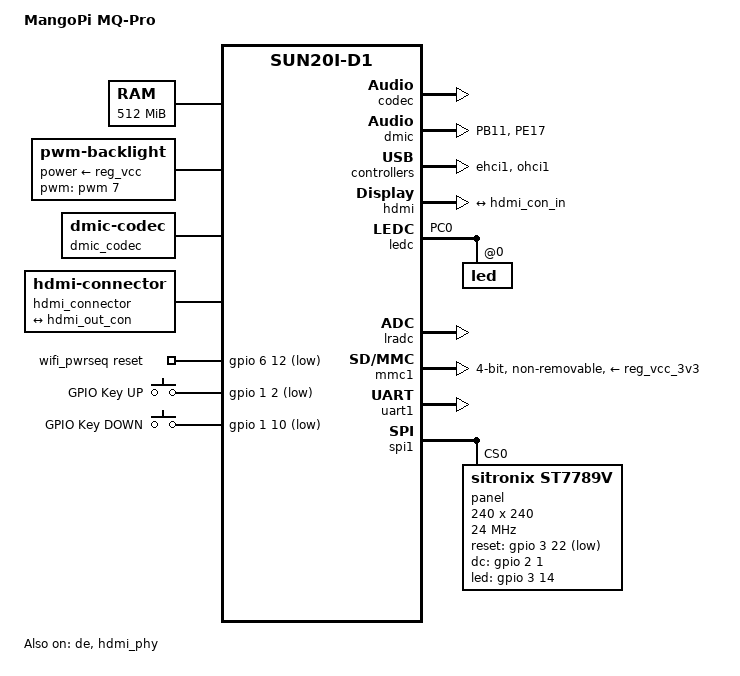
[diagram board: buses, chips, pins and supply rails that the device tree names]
// SPDX-License-Identifier: (GPL-2.0+ or MIT)
// Copyright (C) 2022 Jisheng Zhang <jszhang@kernel.org>
// Copyright (C) 2022 Samuel Holland <samuel@sholland.org>

#include <dt-bindings/input/input.h>

#include "sun20i-d1-lichee-rv.dts"

/ {
	model = "MangoPi MQ-Pro";
	compatible = "mangopi,mq-pro",
		     "allwinner,sun20i-d1";

	aliases {
		mmc1 = &mmc1;
		ethernet0 = &emac;
	};

  memory@40000000 {
    device_type = "memory";
    reg = <0x40000000 0x20000000>;
  };

	backlight: backlight {
		compatible = "pwm-backlight";
		power-supply = <&reg_vcc>;
		pwms = <&pwm 7 50000 0>;
	};

	dmic-card {
		compatible = "simple-audio-card";
		#address-cells = <1>;
		#size-cells = <0>;

		simple-audio-card,dai-link@0 {
			format = "pdm";
			frame-master = <&link0_cpu>;
			bitclock-master = <&link0_cpu>;

			link0_cpu: cpu {
				sound-dai = <&dmic>;
			};

			link0_codec: codec {
				sound-dai = <&dmic_codec>;
			};
		};
	};

	dmic_codec: dmic-codec {
		compatible = "dmic-codec";
		num-channels = <2>;
		#sound-dai-cells = <0>;
	};

  /*
	spi-gpio {
		compatible = "spi-gpio";
		cs-gpios = <&gpio 3 10 GPIO_ACTIVE_LOW>; // PD10
		mosi-gpios = <&gpio 3 12 GPIO_ACTIVE_HIGH>; // PD12
		sck-gpios = <&gpio 3 11 GPIO_ACTIVE_HIGH>; // PD11
		num-chipselects = <1>;
		#address-cells = <1>;
		#size-cells = <0>;

		panel@0 {
			compatible = "sitronix,st7789v";
			reg = <0>;
			backlight = <&backlight>;
			reset-gpios = <&gpio 3 14 GPIO_ACTIVE_LOW>; // PD14
			spi-3wire;
      width = <240>;
      height = <240>;
      txbuflen = <32768>;
      // from d1-lichee-rv-86-panel.dts
      // port {
      //   panel_in_tcon_lcd0: endpoint {
      //     remote-endpoint = <&tcon_lcd0_out_panel>;
      //   };
      // };
		};
	};
  */

	hdmi_connector: connector {
		compatible = "hdmi-connector";
		type = "a";

		port {
			hdmi_con_in: endpoint {
				remote-endpoint = <&hdmi_out_con>;
			};
		};
	};

	wifi_pwrseq: wifi-pwrseq {
		compatible = "mmc-pwrseq-simple";
		reset-gpios = <&gpio 6 12 GPIO_ACTIVE_LOW>; /* PG12 */
	};

	gpio-keys {
			compatible = "gpio-keys";
			autorepeat;

			up {
				label = "GPIO Key UP";
				linux,code = <103>;
				gpios = <&gpio 1 2 GPIO_ACTIVE_LOW>;
			};

			down {
				label = "GPIO Key DOWN";
				linux,code = <108>;
				gpios = <&gpio 1 10 GPIO_ACTIVE_LOW>;
			};
  };
};

&codec {
	allwinner,routing = "Internal Speaker", "HPOUTL",
			    "Internal Speaker", "HPOUTR",
			    "LINEINL", "HPOUTL",
			    "LINEINR", "HPOUTR",
			    "MICIN3", "Internal Microphone",
			    "Internal Microphone", "HBIAS";
	allwinner,widgets = "Microphone", "Internal Microphone",
			    "Speaker", "Internal Speaker";
	status = "okay";
};

&de {
	status = "okay";
};

&dmic {
	pinctrl-0 = <&dmic_pb11_d0_pin>, <&dmic_pe17_clk_pin>;
	pinctrl-names = "default";
	status = "okay";
};

&ehci1 {
	status = "okay";
};

&gpio {
	dmic_pb11_d0_pin: dmic-pb11-d0-pin {
		pins = "PB11";
		function = "dmic";
	};

	dmic_pe17_clk_pin: dmic-pe17-clk-pin {
		pins = "PE17";
		function = "dmic";
	};

	ledc_pc0_pin: ledc-pc0-pin {
		pins = "PC0";
		function = "ledc";
	};
};

&hdmi {
	status = "okay";

	port {
		hdmi_out_con: endpoint {
			remote-endpoint = <&hdmi_con_in>;
		};
	};
};

&hdmi_phy {
	status = "okay";
};

&ledc {
	pinctrl-0 = <&ledc_pc0_pin>;
	pinctrl-names = "default";
	status = "okay";

	led@0 {
		reg = <0x0>;
		color = <LED_COLOR_ID_RGB>;
		function = LED_FUNCTION_STATUS;
	};
};

&lradc {
	wakeup-source;
	status = "okay";

	button-220 {
		label = "OK";
		linux,code = <KEY_OK>;
		channel = <0>;
		voltage = <220000>;
	};
};

&mmc1 {
	bus-width = <4>;
	mmc-pwrseq = <&wifi_pwrseq>;
	non-removable;
	vmmc-supply = <&reg_vcc_3v3>;
	vqmmc-supply = <&reg_vcc_3v3>;
	pinctrl-0 = <&mmc1_pins>;
	pinctrl-names = "default";
	status = "okay";
};

&ohci1 {
	status = "okay";
};

&uart1 {
	pinctrl-0 = <&uart1_pg6_pins>, <&uart1_pg8_rts_cts_pins>;
	pinctrl-names = "default";
	status = "okay";
};

&spi1 {
	pinctrl-0 = <&spi1_pd_pins>;
	pinctrl-names = "default";
	status = "okay";
	num-cs = <1>;

	panel@0 {
		compatible = "sitronix,st7789v";
    buswidth = <0x8>;
		reg = <0>;
		reset-gpios = <&gpio 3 22 GPIO_ACTIVE_LOW>; /* PD22 */
		dc-gpios = <&gpio 2 1 GPIO_ACTIVE_HIGH>; /* PC1 */
	  led-gpios = <&gpio 3 14 GPIO_ACTIVE_HIGH>; /* PD14 */
		// spi-3wire; // not available here
		spi-max-frequency = <24000000>;
    width = <240>;
    height = <240>;
    txbuflen = <32768>;
    spi-cpol;
    spi-cpha;
    fps = <25>;
		status = "okay";
	};
};

&usbphy {
	usb1_vbus-supply = <&reg_vcc>;
};
